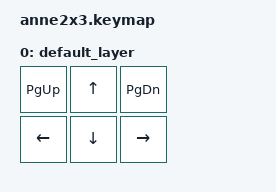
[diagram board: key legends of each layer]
/*
 * Copyright (c) 2024 The ZMK Contributors
 *
 * SPDX-License-Identifier: MIT
 */

#include <behaviors.dtsi>
#include <dt-bindings/zmk/keys.h>
#include <dt-bindings/zmk/bt.h>
#include <dt-bindings/zmk/rgb.h> // Añadido para controles RGB

/ {
    keymap {
        compatible = "zmk,keymap";
        default_layer {
            bindings = <
                &kp PG_UP   &kp UP    &kp PG_DN
                &kp LEFT    &kp DOWN  &kp RIGHT
            >;
        };
    };

    combos {
        compatible = "zmk,combos";
        pairing_combo {
          timeout-ms = <50>;
           key-positions = <0 1>; // tecla 1 + tecla 2
          bindings = <&bt BT_CLR_ALL>;
        };
        rgb_effect_combo { // Combo para RGB_EFF
            timeout-ms = <50>;
            key-positions = <1 2>; // Teclas lógicas 1 y 2 (físicas 2 y 3)
            bindings = <&rgb_ug RGB_EFF>; // Ciclar efectos RGB
        };
        bootloader_combo {
            timeout-ms = <50>;
            key-positions = <0 2>; // Tecla 1 + Tecla 3
            bindings = <&bootloader>;
        };
    };
};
